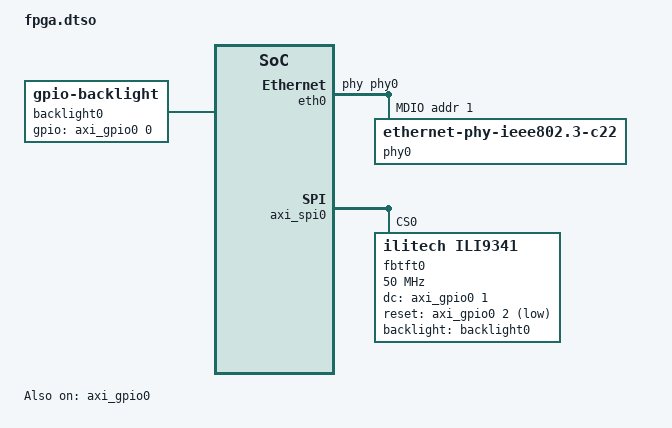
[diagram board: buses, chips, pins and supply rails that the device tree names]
#include <dt-bindings/gpio/gpio.h>

/dts-v1/;
/plugin/;

/ {
	fragment@0 {
		target = <&fpga_full>;
		__overlay__ {
			status = "okay";
			firmware-name = "fpga.bin";
		};
	};

	fragment@1 {
		target = <&amba>;
		__overlay__ {
			eth0: ethernet@40e00000 {
				compatible = "xlnx,axi-ethernetlite-3.0", "xlnx,xps-ethernetlite-1.00.a";
				reg = <0x40e00000 0x10000>;
				status = "okay";
				device_type = "network";
				local-mac-address = [00 0a 35 00 00 00];
				phy-handle = <&phy0>;
			 	xlnx,rx-ping-pong = <0x1>;
				xlnx,tx-ping-pong = <0x1>;
				interrupt-parent = <&intc>;
		        interrupts = <0 29 1>;
				mdio {
					#address-cells = <1>;
					#size-cells = <0>;
					phy0: phy@7 {
						compatible = "ethernet-phy-ieee802.3-c22";
						device_type = "ethernet-phy";
						reg = <1>;
					};
				};
			};
		};
	};

	fragment@2 {
		target = <&amba>;
		__overlay__ {
			axi_gpio0: gpio@41200000 {
				compatible = "xlnx,xps-gpio-1.00.a";
				reg = <0x41200000 0x10000>;
				status = "okay";
				gpio-controller;
				#gpio-cells = <2>;
			};
		};
	};

	fragment@3 {
		target = <&amba>;
		__overlay__ {
			backlight0: gpio-backlight@0 {
				status = "okay";
				compatible = "gpio-backlight";
				gpios = <&axi_gpio0 0 GPIO_ACTIVE_HIGH>;
			};
		};
	};

	fragment@4 {
		target = <&amba>;
		__overlay__ {
			axi_spi0: spi@41e00000 {
				compatible = "xlnx,axi-quad-spi-3.2", "xlnx,xps-spi-2.00.a";
				reg = <0x41e00000 0x10000>;
				status = "okay";
				interrupt-parent = <&intc>;
				interrupts = <0 30 1>;
				bits-per-word = <8>;
				fifo-size = <256>;
				num-cs = <1>;

				fbtft0: display@0 {
					status = "okay";
					compatible = "ilitech,ili9341";
					reg = <0>;
					dc-gpios = <&axi_gpio0 1 GPIO_ACTIVE_HIGH>;
					reset-gpios = <&axi_gpio0 2 GPIO_ACTIVE_LOW>;
					spi-max-frequency = <50000000>;
					fps = <60>;
					rotate = <270>;
					backlight = <&backlight0>;
					buswidth = <1>;
				};
			};
		};
	};
};
